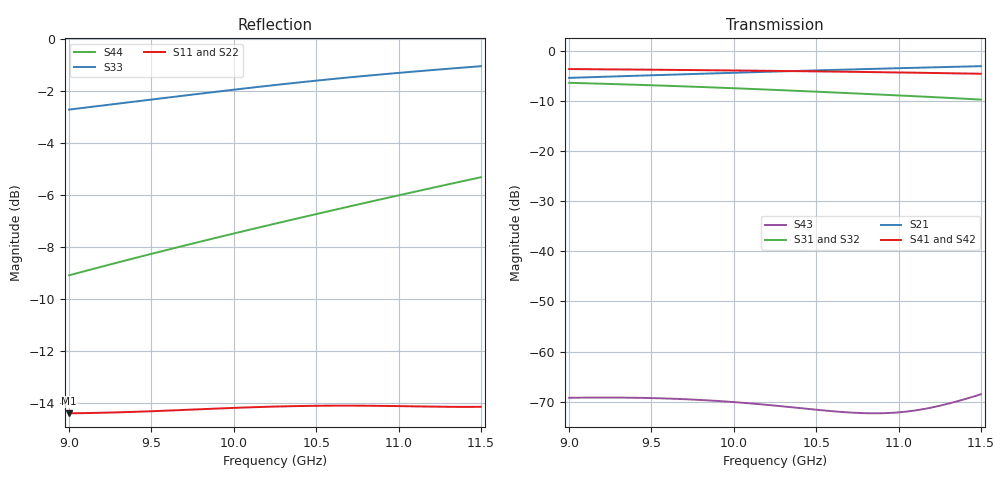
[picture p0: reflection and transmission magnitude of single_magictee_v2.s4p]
! Touchstone file exported from HFSS 2025.2.4
!  File:  C:/Users/chaoy/Documents/single_magictee_v2_stageA/g2_4p60mm_lt_6p00mm/single_magictee_v2.aedt
!  Generated:  02:55:34 PM Sep 19, 2026
!  Design:  SingleMagicT_v2
!  Project:  single_magictee_v2
! Variables:
!  f_adapt = 10.2GHz
!  ridge_g1 = 7.672mm
!  ridge_g2 = 4.6mm
!  ridge_l1 = 9.872mm
!  ridge_l2 = 8.857mm
!  ridge_w = 4.572mm
!  terminal_ridge_len = 6mm
!  wg_a = 22.86mm
!  wg_b = 10.16mm
!Data is not renormalized
# GHz S MA
! Terminal data exported
! Port[1] = P1_CollinearMinusX
! Port[2] = P2_CollinearPlusX
! Port[3] = P3_HArm_Ridged
! Port[4] = P4_EArm
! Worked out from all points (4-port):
!   101 points, 9 GHz to 11.5 GHz, reference per port
!   strongest paths, dB at 9 GHz, 9.625 GHz, 10.25 GHz, 10.88 GHz, 11.5 GHz:
!     S41: -3.6, -3.7, -3.9, -4.2, -4.5
!     S42: -3.6, -3.7, -3.9, -4.2, -4.5
!     S21: -5.3, -4.7, -4.1, -3.5, -3.0
!     S31: -6.3, -7.0, -7.7, -8.7, -9.7
!     S32: -6.3, -7.0, -7.7, -8.7, -9.7
!     S43: -69.2, -69.4, -70.8, -72.3, -68.5
!   lowest |S11| = -14.4 dB at 9 GHz (marker M1), VSWR 1.47
!   |S11| at or under -10 dB: start of sweep to end of sweep
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9  0.1903 -154.9  0.5406 -158.7  0.4827 102.7  0.6622 45.3
   0.5406 -158.7  0.1907 -155.1  0.4825 102.7  0.6622 -134.8
   0.4827 102.7  0.4825 102.7  0.7309 -176.9  0.0003454 -38.0
   0.6622 45.3  0.6622 -134.8  0.0003454 -38.0  0.3507 -108.9
9.325  0.1912 171.7  0.5622 163.9  0.4659 63.4  0.656 8.0
       0.5622 163.9  0.1917 171.6  0.4657 63.3  0.656 -172.0
       0.4659 63.4  0.4657 63.3  0.7523 140.9  0.0003467 -79.5
       0.656 8.0  0.656 -172.0  0.0003467 -79.5  0.3733 -143.9
9.725  0.1933 131.5  0.5891 119.3  0.4431 16.0  0.6475 -36.4
       0.5891 119.3  0.1939 131.4  0.4429 15.9  0.6475 143.6
       0.4431 16.0  0.4429 15.9  0.7794 89.6  0.0003331 -129.6
       0.6475 -36.4  0.6475 143.6  0.0003331 -129.6  0.4019 173.8
10.05  0.1952 99.2  0.6113 84.0  0.4228 -21.9  0.6398 -71.5
       0.6113 84.0  0.1956 99.1  0.4227 -21.9  0.6398 108.5
       0.4228 -21.9  0.4227 -21.9  0.8016 48.6  0.0003083 -168.4
       0.6398 -71.5  0.6398 108.5  0.0003083 -168.4  0.4258 139.9
10.45  0.1966 59.7  0.6387 41.3  0.3968 -67.7  0.6293 -113.9
       0.6387 41.3  0.197 59.6  0.3967 -67.7  0.6293 66.1
       0.3968 -67.7  0.3967 -67.7  0.8277 -1.0  0.0002676 149.6
       0.6293 -113.9  0.6293 66.1  0.0002676 149.6  0.4561 98.8
11.025  0.1964 4.1  0.6769 -18.8  0.3594 -132.9  0.6115 -173.6
        0.6769 -18.8  0.1963 4.0  0.3593 -132.8  0.6117 6.4
        0.3594 -132.9  0.3593 -132.8  0.8612 -72.0  0.0002493 108.7
        0.6115 -173.6  0.6117 6.4  0.0002493 108.7  0.5019 40.3
11.5  0.1959 -40.2  0.7077 -67.6  0.3281 172.6  0.5943 137.6
      0.7077 -67.6  0.1953 -40.3  0.3279 172.8  0.5946 -42.4
      0.3281 172.6  0.3279 172.8  0.8859 -132.8  0.0003746 76.2
      0.5943 137.6  0.5946 -42.4  0.0003746 76.2  0.5416 -7.6
